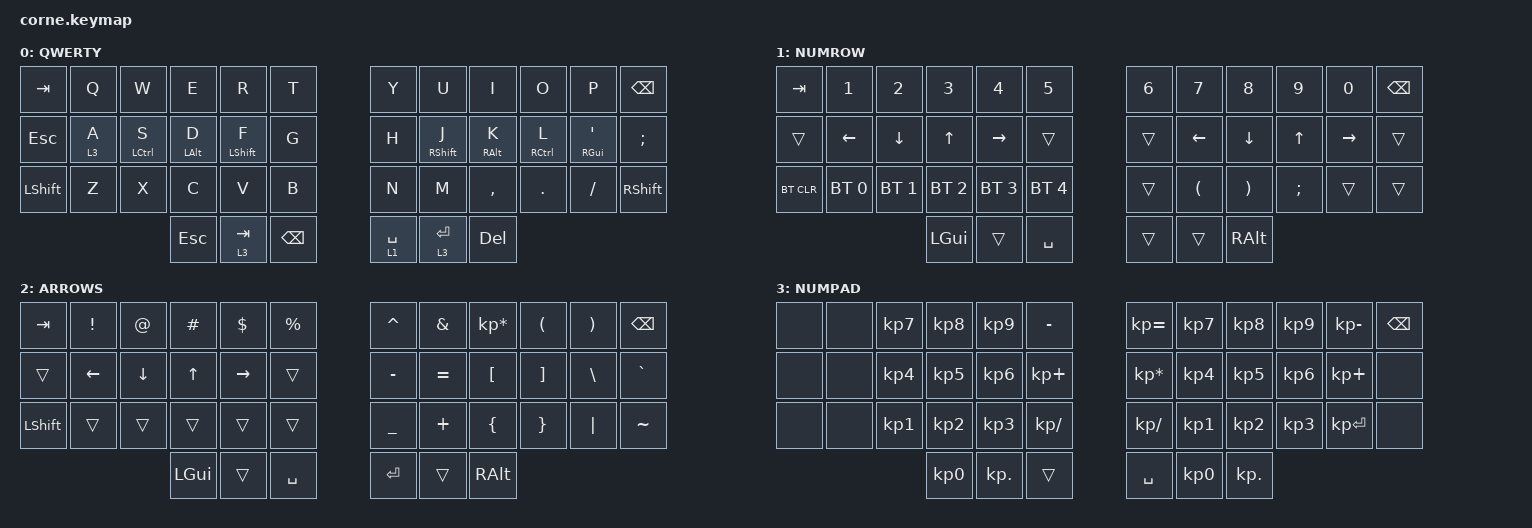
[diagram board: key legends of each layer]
/*
*
* Copyright (c) 2021 Darryl deHaan
* SPDX-License-Identifier: MIT
*
*/

#include <behaviors.dtsi>
#include <dt-bindings/zmk/keys.h>
#include <dt-bindings/zmk/bt.h>

#define QWERTY 0
#define NUMROW 1
#define ARROWS 2
#define NUMPAD 3

&mt {
  flavor = "tap-preferred";
  //tapping_term_ms = <250>;
};

&kscan0 {
    debounce-period = <10>;
};


#define COMBO(NAME, KEYPOS) \
    combo_##NAME { \
        timeout-ms = <50>; \
        key-positions = <KEYPOS>; \
        bindings = <&kp NAME>; \
    };
/ {
    behaviors {
        i3: behavior_ithree {
			compatible = "zmk,behavior-hold-tap";
			label = "I_THREE";
			flavor = "tap-preferred";
			tapping-term-ms = <500>;
            #binding-cells = <2>;
			bindings = <&kp>, <&kp>;
		};
    };

    combos {
        compatible = "zmk,combos";
        COMBO(NUM_1, 1 13)
        COMBO(NUM_2, 2 14)
        COMBO(NUM_3, 3 15)
        COMBO(NUM_4, 4 16)
        COMBO(NUM_5, 5 17)
        COMBO(NUM_6, 6 18)
        COMBO(NUM_7, 7 19)
        COMBO(NUM_8, 8 20)
        COMBO(NUM_9, 9 21)
        COMBO(NUM_0, 10 22)

        COMBO(ESC, 1 2)
        COMBO(BSPC, 9 10)
        COMBO(MINUS, 3 4)
        COMBO(DELETE, 8 9)
        COMBO(LPAR, 4 5)
        COMBO(RPAR, 6 7)
        COMBO(TAB, 2 3)
        COMBO(SCLN, 21 22)
    };
    };

/ {
        keymap {
                compatible = "zmk,keymap";

                default_layer {
                        label = "QWERTY";
// -----------------------------------------------------------------------------------------
// |  TAB |  Q  |  W  |  E  |  R  |  T  |   |  Y  |  U   |  I  |  O  |  P  | BKSP |
// | CTRL |  A  |  S  |  D  |  F  |  G  |   |  H  |  J   |  K  |  L  |  ;  |  '   |
// | SHFT |  Z  |  X  |  C  |  V  |  B  |   |  N  |  M   |  ,  |  .  |  /  | ESC  |
//                    | GUI | LWR | SPC |   | ENT | RSE  | ALT |
                        bindings = <
  &kp TAB   &kp Q &kp W &kp E &kp R &kp T   &kp Y &kp U  &kp I     &kp O   &kp P    &kp BSPC
   &kp ESC &lt 3 A &mt LCTRL S &mt LALT D &mt LSHFT F &kp G   &kp H &mt RSHFT J  &mt RALT K     &mt RCTRL L   &mt RGUI APOSTROPHE  &kp SEMI
   &kp LSHFT &kp Z &kp X &kp C &kp V &kp B   &kp N &kp M  &kp COMMA &kp DOT &kp FSLH &kp RSHFT
                  &kp ESC &lt 3 TAB  &kp BSPC   &lt 1 SPACE &lt 3 ENTER  &kp DELETE
                        >;
                };
                numrow_layer {
                        label = "NUMROW";
// -----------------------------------------------------------------------------------------
// |  TAB |  1  |  2  |  3  |  4  |  5  |   |  6  |  7  |  8  |  9  |  0  | BKSP |
// | BTCLR| BT1 | BT2 | BT3 | BT4 | BT5 |   | LFT | DWN |  UP | RGT |     |      |
// | SHFT |     |     |     |     |     |   |     |     |     |     |     |      |
//                    | GUI |     | SPC |   | ENT |     | ALT |
                        bindings = <
   &kp TAB    &kp N1       &kp N2       &kp N3       &kp N4       &kp N5         &kp N6   &kp N7   &kp N8 &kp N9    &kp N0 &kp BSPC
   &trans &kp LEFT &kp DOWN &kp UP &kp RIGHT &trans   &trans &kp LEFT &kp DOWN &kp UP &kp RIGHT &trans
   &bt BT_CLR &bt BT_SEL 0 &bt BT_SEL 1 &bt BT_SEL 2 &bt BT_SEL 3 &bt BT_SEL 4          &trans   &kp LPAR  &kp RPAR &kp SEMI    &trans &trans
                          	        &kp LGUI     &trans       &kp SPACE      &trans  &trans   &kp RALT
                        >;
                };

                arrows_layer {
                        label = "ARROWS";
// -----------------------------------------------------------------------------------------
// |  TAB |  !  |  @  |  #  |  $  |  %  |   |  ^  |  &  |  *  |  (  |  )  | BKSP |
// | CTRL |     |     |     |     |     |   |  -  |  =  |  [  |  ]  |  \  |  `   |
// | SHFT |     |     |     |     |     |   |  _  |  +  |  {  |  }  | "|" |  ~   |
//                    | GUI |     | SPC |   | ENT |     | ALT |
                        bindings = <
   &kp  TAB  &kp EXCL &kp AT &kp HASH &kp DLLR &kp PRCNT     &kp CARET &kp AMPS  &kp KP_MULTIPLY &kp LPAR &kp RPAR &kp BSPC
   &trans &kp LEFT &kp DOWN &kp UP &kp RIGHT &trans          &kp MINUS &kp EQUAL &kp LBKT        &kp RBKT &kp BSLH &kp GRAVE
   &kp LSHFT &trans   &trans &trans   &trans &trans          &kp UNDER &kp PLUS  &kp LBRC        &kp RBRC &kp PIPE &kp TILDE
                    	     &kp LGUI &trans &kp SPACE       &kp RET &trans  &kp RALT
                        >;
                };

                numpad_layer {
                        label = "NUMPAD";
                        bindings = < 
   &none &none &kp KP_N7 &kp KP_N8 &kp KP_N9 &kp MINUS         &kp KP_EQUAL    &kp KP_N7 &kp KP_N8 &kp KP_N9 &kp KP_MINUS &kp BSPC
   &none &none &kp KP_N4 &kp KP_N5 &kp KP_N6 &kp KP_PLUS           &kp KP_ASTERISK &kp KP_N4 &kp KP_N5 &kp KP_N6 &kp KP_PLUS  &none
   &none &none &kp KP_N1 &kp KP_N2 &kp KP_N3 &kp KP_SLASH      &kp KP_SLASH    &kp KP_N1 &kp KP_N2 &kp KP_N3 &kp KP_ENTER &none
                             &kp KP_N0 &kp KP_DOT  &trans       &kp SPC &kp KP_N0 &kp KP_DOT
                        >;
                };
        };
};



